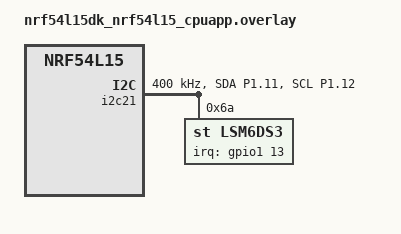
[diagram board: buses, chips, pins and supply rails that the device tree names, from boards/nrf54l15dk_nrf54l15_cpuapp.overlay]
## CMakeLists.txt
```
# SPDX-License-Identifier: Apache-2.0

cmake_minimum_required(VERSION 3.20.0)

list(APPEND ZEPHYR_EXTRA_MODULES ${CMAKE_CURRENT_SOURCE_DIR}/drivers)
list(APPEND DTS_ROOT ${CMAKE_CURRENT_SOURCE_DIR})

find_package(Zephyr REQUIRED HINTS $ENV{ZEPHYR_BASE})
project(gesture_recognition)

file(GLOB app_sources src/*)
target_sources(app PRIVATE ${app_sources})
```

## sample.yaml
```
sample:
  name: Gesture recognition using LSM6DSL 
tests:
  sample.sensor.lsm6dsl:
    harness: console
    tags: sensors
    depends_on: lsm6dsl
    timeout: 15
    modules:
      - tflite-micro
    harness_config:
      type: multi_line
      ordered: true
      regex:
        - "accel x:[-.0-9]* ms/2 y:[-.0-9]* ms/2 z:[-.0-9]* ms/2"
        - "gyro x:[-.0-9]* dps y:[-.0-9]* dps z:[-.0-9]* dps"
        - "loop:[0-9]* trig_cnt:[0-9]*"
```

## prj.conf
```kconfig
# ==========================================
# 1. HARDWARE, SENSORS, & GPIO
# ==========================================
CONFIG_I2C=y
CONFIG_SENSOR=y
CONFIG_LSM6DS3=y
CONFIG_LSM6DS3_TRIGGER_GLOBAL_THREAD=y
CONFIG_GPIO=y

# ==========================================
# 2. C++ AND TINYML (TENSORFLOW)
# ==========================================
CONFIG_CPP=y
CONFIG_STD_CPP17=y
CONFIG_TENSORFLOW_LITE_MICRO=y
CONFIG_FPU=y
CONFIG_CMSIS_DSP=y
CONFIG_CMSIS_NN=y
CONFIG_CBPRINTF_FP_SUPPORT=y

# ==========================================
# 3. BLUETOOTH CORE
# ==========================================
CONFIG_BT=y
CONFIG_BT_PERIPHERAL=y
CONFIG_BT_DEVICE_NAME="EdgeAI Gesture Translation System"
CONFIG_BT_DEVICE_APPEARANCE=961
CONFIG_BT_MAX_CONN=1
CONFIG_BT_MAX_PAIRED=5
CONFIG_BT_CONN_CTX=y

# ==========================================
# 4. BLUETOOTH HID & SERVICES
# ==========================================
CONFIG_BT_HIDS=y
CONFIG_BT_HIDS_MAX_CLIENT_COUNT=1
CONFIG_BT_HIDS_DEFAULT_PERM_RW_ENCRYPT=y
CONFIG_BT_HIDS_INPUT_REP_MAX=1

CONFIG_BT_BAS=y
CONFIG_BT_DIS=y
CONFIG_BT_DIS_PNP=y
CONFIG_BT_DIS_PNP_VID_SRC=2
CONFIG_BT_DIS_PNP_VID=0x1915
CONFIG_BT_DIS_PNP_PID=0x0001
CONFIG_BT_DIS_PNP_VER=0x0100

# ==========================================
# 5. BLUETOOTH SECURITY & BONDING (iOS/OSX COMPATIBILITY)
# ==========================================
CONFIG_BT_SMP=y
CONFIG_BT_BONDABLE=y
CONFIG_BT_BONDING_REQUIRED=n
CONFIG_BT_SMP_SC_ONLY=n
CONFIG_BT_SMP_SC_PAIR_ONLY=n
CONFIG_BT_SMP_ALLOW_UNAUTH_OVERWRITE=y
CONFIG_BT_GATT_AUTO_SEC_REQ=n
CONFIG_BT_AUTO_PHY_UPDATE=n

# ==========================================
# 6. FLASH & SETTINGS (FOR SAVING BLUETOOTH PAIRINGS)
# ==========================================
CONFIG_BT_SETTINGS=y
CONFIG_FLASH=y
CONFIG_FLASH_PAGE_LAYOUT=y
CONFIG_FLASH_MAP=y
CONFIG_NVS=y
CONFIG_SETTINGS=y
CONFIG_SETTINGS_NVS=y

# ==========================================
# 7. BLUETOOTH MEMORY POOLS
# ==========================================
CONFIG_BT_GATT_UUID16_POOL_SIZE=40
CONFIG_BT_GATT_CHRC_POOL_SIZE=20
CONFIG_BT_ATT_TX_COUNT=5

# ==========================================
# 8. SYSTEM STACKS & HEAP
# ==========================================
CONFIG_MAIN_STACK_SIZE=8192
CONFIG_SYSTEM_WORKQUEUE_STACK_SIZE=4096
CONFIG_HEAP_MEM_POOL_SIZE=8192

# ==========================================
# 9. LOGGING & DEBUG
# ==========================================
CONFIG_LOG=y
# Uncomment below if you need deep Bluetooth debugging
# CONFIG_LOG_BACKEND_UART=y
# CONFIG_BT_LOG_LEVEL_WRN=y
```

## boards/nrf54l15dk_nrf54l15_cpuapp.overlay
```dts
/*
 * Device tree overlay for LSM6DS3 breakout on nRF54L15 DK
 *
 * Wiring:
 *   Breakout SDA  -> P1.11  (PORT 1, pin 11)
 *   Breakout SCL  -> P1.12  (PORT 1, pin 12)
 *   Breakout CS   -> VDD.IO (force I2C mode)
 *   Breakout SAO  -> GND    (I2C address 0x6A)
 *   Breakout VIN  -> VDD.IO
 *   Breakout GND  -> GND
 *   Breakout INT1 -> P1.13
 */

&pinctrl {
	i2c21_default: i2c21_default {
		group1 {
			psels = <NRF_PSEL(TWIM_SDA, 1, 11)>,
				<NRF_PSEL(TWIM_SCL, 1, 12)>;
			bias-pull-up;
		};
	};

	i2c21_sleep: i2c21_sleep {
		group1 {
			psels = <NRF_PSEL(TWIM_SDA, 1, 11)>,
				<NRF_PSEL(TWIM_SCL, 1, 12)>;
			low-power-enable;
		};
	};
};

&i2c21 {
	status = "okay";
	clock-frequency = <I2C_BITRATE_FAST>;
	pinctrl-0 = <&i2c21_default>;
	pinctrl-1 = <&i2c21_sleep>;
	pinctrl-names = "default", "sleep";

	lsm6ds3: lsm6ds3@6a {
		compatible = "st,lsm6ds3";
		reg = <0x6a>;
		irq-gpios = <&gpio1 13 GPIO_ACTIVE_HIGH>;
	};
};
```

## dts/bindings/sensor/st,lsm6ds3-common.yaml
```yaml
# SPDX-License-Identifier: Apache-2.0

include: sensor-device.yaml

properties:
  irq-gpios:
    type: phandle-array
```

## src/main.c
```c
/**
 * main.c
 * Gesture recognition with windowing and inference
 */

#include <zephyr/kernel.h>
#include <zephyr/logging/log.h>

#include "imu.h"
#include "gesture_inference.h"

LOG_MODULE_REGISTER(main, LOG_LEVEL_INF);

extern struct k_msgq imu_msgq;

// Window configuration (must match training)
#define WINDOW_SIZE 128
#define NUM_FEATURES 6
#define STRIDE 64  // Slide window by 64 samples (50% overlap)

// Sliding window buffer
static float window_buffer[WINDOW_SIZE][NUM_FEATURES];
static int window_index = 0;
static bool window_ready = false;

// Statistics for normalization (calculate from your training data)
// These should match the normalization used during training
#define ACCEL_MEAN_X 0.0f
#define ACCEL_MEAN_Y 0.0f
#define ACCEL_MEAN_Z 1000.0f  // ~1g in mg
#define GYRO_MEAN_X 0.0f
#define GYRO_MEAN_Y 0.0f
#define GYRO_MEAN_Z 0.0f

#define ACCEL_STD_X 500.0f
#define ACCEL_STD_Y 500.0f
#define ACCEL_STD_Z 500.0f
#define GYRO_STD_X 100.0f
#define GYRO_STD_Y 100.0f
#define GYRO_STD_Z 100.0f

/**
 * Normalize sensor data
 */
static inline float normalize(float value, float mean, float std)
{
    return (value - mean) / std;
}

/**
 * Add IMU sample to window buffer
 */
static void add_to_window(struct imu_sample *sample)
{
    // Normalize and add to window
    window_buffer[window_index][0] = normalize(sample->accel_x, ACCEL_MEAN_X, ACCEL_STD_X);
    window_buffer[window_index][1] = normalize(sample->accel_y, ACCEL_MEAN_Y, ACCEL_STD_Y);
    window_buffer[window_index][2] = normalize(sample->accel_z, ACCEL_MEAN_Z, ACCEL_STD_Z);
    window_buffer[window_index][3] = normalize(sample->gyro_x, GYRO_MEAN_X, GYRO_STD_X);
    window_buffer[window_index][4] = normalize(sample->gyro_y, GYRO_MEAN_Y, GYRO_STD_Y);
    window_buffer[window_index][5] = normalize(sample->gyro_z, GYRO_MEAN_Z, GYRO_STD_Z);
    
    window_index++;
    
    // Check if window is full
    if (window_index >= WINDOW_SIZE) {
        window_ready = true;
        window_index = 0;  // Reset for next window
    }
}

/**
 * Prepare flattened input for inference
 */
static void prepare_input(float *input_array)
{
    // Flatten window buffer: [128, 6] -> [768]
    for (int i = 0; i < WINDOW_SIZE; i++) {
        for (int j = 0; j < NUM_FEATURES; j++) {
            input_array[i * NUM_FEATURES + j] = window_buffer[i][j];
        }
    }
}

/**
 * Print gesture result
 */
static void print_result(gesture_result_t *result)
{
    LOG_INF("┌─────────────────────────────────────┐");
    LOG_INF("│ GESTURE: %-25s│", gesture_get_name(result->gesture));
    LOG_INF("│ CONFIDENCE: %.1f%%                  │", result->confidence * 100.0f);
    LOG_INF("├─────────────────────────────────────┤");
    LOG_INF("│ Probabilities:                      │");
    LOG_INF("│   SLIDE_UP:    %.1f%%", result->probabilities[0] * 100.0f);
    LOG_INF("│   SLIDE_DOWN:  %.1f%%", result->probabilities[1] * 100.0f);
    LOG_INF("│   SLIDE_LEFT:  %.1f%%", result->probabilities[2] * 100.0f);
    LOG_INF("│   SLIDE_RIGHT: %.1f%%", result->probabilities[3] * 100.0f);
    LOG_INF("└─────────────────────────────────────┘");
}

/**
 * Main thread
 */
int main(void)
{
    LOG_INF("═════════════════════════════════════════");
    LOG_INF("  Gesture Recognition System - nRF54L15");
    LOG_INF("═════════════════════════════════════════");
    
    // Start IMU
    if (imu_start() != 0) {
        LOG_ERR("Failed to start IMU");
        return -1;
    }
    LOG_INF("✓ IMU started");
    
    // Initialize TensorFlow Lite
    if (!gesture_init()) {
        LOG_ERR("Failed to initialize gesture recognition");
        return -1;
    }
    LOG_INF("✓ TFLite initialized");
    
    LOG_INF("\n🎯 Ready for gesture recognition!");
    LOG_INF("   Window size: %d samples", WINDOW_SIZE);
    LOG_INF("   Collecting data...\n");
    
    struct imu_sample sample;
    gesture_result_t result;
    float input_data[WINDOW_SIZE * NUM_FEATURES];
    
    uint32_t sample_count = 0;
    uint32_t inference_count = 0;
    
    while (1) {
        // Get IMU sample from message queue
        k_msgq_get(&imu_msgq, &sample, K_FOREVER);
        sample_count++;
        
        // Add to window
        add_to_window(&sample);
        
        // Log raw data periodically
        if (sample_count % 104 == 0) {
            LOG_DBG("Sample #%u: accel[%d,%d,%d] gyro[%d,%d,%d]",
                   sample_count,
                   sample.accel_x, sample.accel_y, sample.accel_z,
                   sample.gyro_x, sample.gyro_y, sample.gyro_z);
        }
        
        // Run inference when window is ready
        if (window_ready) {
            LOG_INF("─────────────────────────────────────────");
            LOG_INF("Running inference #%u...", ++inference_count);
            
            // Prepare input
            prepare_input(input_data);
            
            // Run inference
            int64_t start_time = k_uptime_get();
            
            if (gesture_predict(input_data, &result)) {
                int64_t inference_time = k_uptime_delta(&start_time);
                
                // Print result
                print_result(&result);
                LOG_INF("⏱️  Inference time: %lld ms", inference_time);
                
                // Optional: Only show high confidence predictions
                if (result.confidence > 0.7f) {
                    LOG_WRN("🎯 HIGH CONFIDENCE DETECTION!");
                }
            } else {
                LOG_ERR("❌ Inference failed");
            }
            
            window_ready = false;
            
            // Optional: Add delay between inferences
            // k_sleep(K_MSEC(100));
        }
    }
    
    return 0;
}
```

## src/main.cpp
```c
#include "main_functions.hpp"

int main(int argc, char *argv[])
{
	setup();
	while (true) {
		loop();
	}
}
```

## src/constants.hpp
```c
#ifndef CONSTANTS_H_
#define CONSTANTS_H_

/** Training data statistics:
Accelerometer: m/s² 
Gyroscope: rad/s 
*/

// Mean values
#define ACCEL_X_MEAN -2.545875f
#define ACCEL_Y_MEAN 6.037923f
#define ACCEL_Z_MEAN 0.781317f
#define GYRO_X_MEAN 0.061443f
#define GYRO_Y_MEAN -0.103846f
#define GYRO_Z_MEAN 0.003154f

// Standard deviation values 
#define ACCEL_X_STD 5.859293f
#define ACCEL_Y_STD 3.801762f
#define ACCEL_Z_STD 4.831740f
#define GYRO_X_STD 0.718018f
#define GYRO_Y_STD 1.324086f
#define GYRO_Z_STD 0.492886f

/* The number of time-steps in one "clip" (the window length) */
constexpr int kWindowSize = 40;

/* The number of sensor features (3 Accel + 3 Gyro) */
constexpr int kFeatureCount = 6;

/* Total length of the flattened input tensor (128 * 6 = 768) */
constexpr int kMaxInputLength = kWindowSize * kFeatureCount;

/* The expected IMU sample frequency in Hz */
const float kTargetHz = 52.0f;

/* Gesture classification settings */
constexpr int kGestureCount = 4;
/* What gestures are supported. */
constexpr int kSlideUp = 0;
constexpr int kSlideDown = 1;
constexpr int kSlideLeft = 2;
constexpr int kSlideRight = 3;

constexpr float kDetectionThreshold = 0.6f;
constexpr int kPredictionHistoryLength = 5;
constexpr int kPredictionSuppressionDuration = 25;



#endif /* CONSTANTS_H_ */
```

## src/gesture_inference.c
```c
/**
 * gesture_inference.c
 * Enhanced implementation with better error handling
 */

#include "gesture_inference.h"
#include "gesture_model.h"

#include "tensorflow/lite/micro/micro_mutable_op_resolver.h"
#include "tensorflow/lite/micro/micro_interpreter.h"
#include "tensorflow/lite/micro/system_setup.h"
#include "tensorflow/lite/schema/schema_generated.h"

#include <zephyr/logging/log.h>
LOG_MODULE_REGISTER(gesture_inference, LOG_LEVEL_INF);

// TFLite globals
static const tflite::Model* model = nullptr;
static tflite::MicroInterpreter* interpreter = nullptr;
static TfLiteTensor* input_tensor = nullptr;
static TfLiteTensor* output_tensor = nullptr;

// Tensor arena - adjust based on your model's needs
constexpr int kTensorArenaSize = 60 * 1024;  // 60 KB
alignas(16) static uint8_t tensor_arena[kTensorArenaSize];

// Gesture names
static const char* gesture_names[] = {
    "SLIDE_UP",
    "SLIDE_DOWN",
    "SLIDE_LEFT",
    "SLIDE_RIGHT",
    "UNKNOWN"
};

// Input shape expected by model
static int input_window_size = 0;
static int input_features = 0;

/**
 * Initialize gesture recognition system
 */
bool gesture_init(void)
{
    LOG_INF("═════════════════════════════════════════");
    LOG_INF("  Initializing TensorFlow Lite Micro");
    LOG_INF("═════════════════════════════════════════");
    
    // Initialize TFLite runtime
    tflite::InitializeTarget();
    
    // Load model from flash
    model = tflite::GetModel(gesture_model);
    if (model->version() != TFLITE_SCHEMA_VERSION) {
        LOG_ERR("❌ Model schema version mismatch!");
        LOG_ERR("   Model version: %d", model->version());
        LOG_ERR("   Expected version: %d", TFLITE_SCHEMA_VERSION);
        return false;
    }
    
    LOG_INF("✓ Model loaded successfully");
    LOG_INF("  Size: %u bytes (%.2f KB)", gesture_model_len, 
           gesture_model_len / 1024.0f);
    
    // Create operation resolver
    static tflite::MicroMutableOpResolver<12> resolver;
    
    // Add operations used by DeepConvGRU model
    resolver.AddConv2D();
    resolver.AddReshape();
    resolver.AddFullyConnected();
    resolver.AddSoftmax();
    resolver.AddQuantize();
    resolver.AddDequantize();
    
    // GRU operations
    resolver.AddUnidirectionalSequenceGRU();
    resolver.AddUnidirectionalSequenceLSTM();  // Sometimes needed
    
    // Additional ops
    resolver.AddMean();
    resolver.AddPad();
    resolver.AddMul();
    resolver.AddAdd();
    
    LOG_INF("✓ Op resolver configured");
    
    // Build interpreter
    static tflite::MicroInterpreter static_interpreter(
        model, resolver, tensor_arena, kTensorArenaSize);
    interpreter = &static_interpreter;
    
    // Allocate tensors
    TfLiteStatus allocate_status = interpreter->AllocateTensors();
    if (allocate_status != kTfLiteOk) {
        LOG_ERR("❌ AllocateTensors() failed!");
        return false;
    }
    
    LOG_INF("✓ Tensors allocated");
    
    // Get input tensor
    input_tensor = interpreter->input(0);
    if (!input_tensor) {
        LOG_ERR("❌ Failed to get input tensor");
        return false;
    }
    
    // Get output tensor
    output_tensor = interpreter->output(0);
    if (!output_tensor) {
        LOG_ERR("❌ Failed to get output tensor");
        return false;
    }
    
    // Log input tensor details
    LOG_INF("─────────────────────────────────────────");
    LOG_INF("Input Tensor:");
    LOG_INF("  Dimensions: %d", input_tensor->dims->size);
    
    if (input_tensor->dims->size == 3) {
        LOG_INF("  Shape: [%d, %d, %d]",
               input_tensor->dims->data[0],  // batch
               input_tensor->dims->data[1],  // window_size
               input_tensor->dims->data[2]); // features
        
        input_window_size = input_tensor->dims->data[1];
        input_features = input_tensor->dims->data[2];
    }
    
    LOG_INF("  Type: %s", 
           input_tensor->type == kTfLiteFloat32 ? "Float32" :
           input_tensor->type == kTfLiteInt8 ? "Int8" : "Unknown");
    LOG_INF("  Bytes: %d", input_tensor->bytes);
    
    // Log output tensor details
    LOG_INF("─────────────────────────────────────────");
    LOG_INF("Output Tensor:");
    LOG_INF("  Dimensions: %d", output_tensor->dims->size);
    LOG_INF("  Classes: %d", output_tensor->dims->data[1]);
    LOG_INF("  Type: %s",
           output_tensor->type == kTfLiteFloat32 ? "Float32" :
           output_tensor->type == kTfLiteInt8 ? "Int8" : "Unknown");
    
    // Log memory usage
    LOG_INF("─────────────────────────────────────────");
    LOG_INF("Memory Usage:");
    LOG_INF("  Tensor arena size: %d bytes (%.2f KB)",
           kTensorArenaSize, kTensorArenaSize / 1024.0f);
    LOG_INF("  Arena used: %d bytes (%.2f KB)",
           interpreter->arena_used_bytes(),
           interpreter->arena_used_bytes() / 1024.0f);
    LOG_INF("  Arena available: %d bytes (%.2f KB)",
           kTensorArenaSize - interpreter->arena_used_bytes(),
           (kTensorArenaSize - interpreter->arena_used_bytes()) / 1024.0f);
    
    LOG_INF("═════════════════════════════════════════");
    LOG_INF("✓ TensorFlow Lite Micro initialized!");
    LOG_INF("═════════════════════════════════════════");
    
    return true;
}

/**
 * Run inference on windowed IMU data
 */
bool gesture_predict(const float *input_data, gesture_result_t *result)
{
    if (!interpreter || !input_tensor || !output_tensor) {
        LOG_ERR("❌ Interpreter not initialized!");
        return false;
    }
    
    // Calculate input size
    int input_size = input_window_size * input_features;
    
    // Copy input data to tensor
    if (input_tensor->type == kTfLiteFloat32) {
        // Float32 input
        memcpy(input_tensor->data.f, input_data, input_size * sizeof(float));
    } else if (input_tensor->type == kTfLiteInt8) {
        // Int8 quantized input
        float scale = input_tensor->params.scale;
        int32_t zero_point = input_tensor->params.zero_point;
        
        for (int i = 0; i < input_size; i++) {
            int32_t quantized = (int32_t)(input_data[i] / scale + zero_point);
            quantized = MAX(-128, MIN(127, quantized));
            input_tensor->data.int8[i] = (int8_t)quantized;
        }
    }
    
    // Run inference
    TfLiteStatus invoke_status = interpreter->Invoke();
    if (invoke_status != kTfLiteOk) {
        LOG_ERR("❌ Invoke() failed!");
        return false;
    }
    
    // Process output
    float max_prob = 0.0f;
    int max_index = 0;
    
    for (int i = 0; i < 4; i++) {
        if (output_tensor->type == kTfLiteFloat32) {
            result->probabilities[i] = output_tensor->data.f[i];
        } else if (output_tensor->type == kTfLiteInt8) {
            // Dequantize output
            float scale = output_tensor->params.scale;
            int32_t zero_point = output_tensor->params.zero_point;
            result->probabilities[i] = 
                (output_tensor->data.int8[i] - zero_point) * scale;
        }
        
        if (result->probabilities[i] > max_prob) {
            max_prob = result->probabilities[i];
            max_index = i;
        }
    }
    
    // Set result
    result->gesture = (gesture_type_t)max_index;
    result->confidence = max_prob;
    
    return true;
}

/**
 * Get gesture name string
 */
const char* gesture_get_name(gesture_type_t gesture)
{
    if (gesture >= 0 && gesture <= 4) {
        return gesture_names[gesture];
    }
    return "INVALID";
}
```

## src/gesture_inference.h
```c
/**
 * gesture_inference.h
 * TensorFlow Lite Micro inference for nRF54L15
 */

#ifndef GESTURE_INFERENCE_H
#define GESTURE_INFERENCE_H

#include <stdint.h>
#include <stdbool.h>

// Gesture classes
typedef enum {
    GESTURE_SLIDE_UP = 0,
    GESTURE_SLIDE_DOWN = 1,
    GESTURE_SLIDE_LEFT = 2,
    GESTURE_SLIDE_RIGHT = 3,
    GESTURE_UNKNOWN = 4
} gesture_type_t;

// Gesture result
typedef struct {
    gesture_type_t gesture;
    float confidence;
    float probabilities[4];
} gesture_result_t;

// Initialize TFLite interpreter
bool gesture_init(void);

// Run inference on IMU data
// input_data: float array of shape [window_size, 6] - flattened
// window_size: typically 128
bool gesture_predict(const float *input_data, gesture_result_t *result);

// Get gesture name
const char* gesture_get_name(gesture_type_t gesture);

#endif
```

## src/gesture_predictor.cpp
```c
#include "gesture_predictor.hpp"

#include "constants.hpp"

namespace {
	/* State for the averaging algorithm we're using. */
	float prediction_history[kGestureCount][kPredictionHistoryLength] = {};
	int prediction_history_index = 0;
	int prediction_suppression_count = 0;
} /* namespace */

/* Return the result of the last prediction
 * 0: wing("W"), 1: ring("O"), 2: slope("angle"), 3: unknown
 */
int PredictGesture(float *output)
{
	/* Record the latest predictions in our rolling history buffer. */
	for (int i = 0; i < kGestureCount; ++i) {
		prediction_history[i][prediction_history_index] = output[i];
	}
	/* Figure out which slot to put the next predictions into. */
	++prediction_history_index;
	if (prediction_history_index >= kPredictionHistoryLength) {
		prediction_history_index = 0;
	}

	/* Average the last n predictions for each gesture, and find which has the
	 * highest score.
	 */
	int max_predict_index = -1;
	float max_predict_score = 0.0f;
	for (int i = 0; i < kGestureCount; i++) {
		float prediction_sum = 0.0f;
		for (int j = 0; j < kPredictionHistoryLength; ++j) {
			prediction_sum += prediction_history[i][j];
		}
		const float prediction_average = prediction_sum / kPredictionHistoryLength;
		if ((max_predict_index == -1) || (prediction_average > max_predict_score)) {
			max_predict_index = i;
			max_predict_score = prediction_average;
		}
	}
	
	/* If there's been a recent prediction, don't trigger a new one too soon. */
	if (prediction_suppression_count > 0) {
		--prediction_suppression_count;
	}
	/* If we're predicting no gesture, or the average score is too low, or there's
	 * been a gesture recognised too recently, return no gesture.
	 */
	if ((max_predict_index == kGestureCount) ||
	    (max_predict_score < kDetectionThreshold) ||
	    (prediction_suppression_count > 0)) {
		return kGestureCount;
	} else {
		/* Reset the suppression counter so we don't come up with another prediction
		 * too soon.
		 */
		prediction_suppression_count = kPredictionSuppressionDuration;
		return max_predict_index;
	}
}
```

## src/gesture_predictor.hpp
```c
#ifndef TENSORFLOW_LITE_MICRO_EXAMPLES_MAGIC_WAND_GESTURE_PREDICTOR_H_
#define TENSORFLOW_LITE_MICRO_EXAMPLES_MAGIC_WAND_GESTURE_PREDICTOR_H_

extern int PredictGesture(float *output);

#endif /* GESTURE_PREDICTOR_H_ */
```

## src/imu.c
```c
#include <zephyr/kernel.h>
#include <zephyr/device.h>
#include <zephyr/drivers/sensor.h>
#include <zephyr/logging/log.h>

#include "imu.h"

LOG_MODULE_REGISTER(imu, LOG_LEVEL_INF);

#define IMU_MSGQ_DEPTH 50

static const struct device *imu_dev;

K_MSGQ_DEFINE(imu_msgq, sizeof(struct imu_sample), IMU_MSGQ_DEPTH, 4);

static struct k_work imu_work;

static int16_t sv_to_mg(const struct sensor_value *sv)
{
	/* sensor_value is m/s^2; convert to mg: 1g = 9.80665 m/s^2 */
	int32_t mg = (sv->val1 * 1000 + sv->val2 / 1000) * 1000 / 9807;

	return (int16_t)CLAMP(mg, INT16_MIN, INT16_MAX);
}

static int16_t sv_to_mdps(const struct sensor_value *sv)
{
	/* sensor_value is rad/s (val1 integer, val2 millionths).
	 * 1 rad/s = 57295.78 mdps. Use int64 to avoid overflow on val2 multiply.
	 */
	int64_t mdps = (int64_t)sv->val1 * 57296 +
		       ((int64_t)sv->val2 * 57296) / 1000000;

	return (int16_t)CLAMP(mdps, INT16_MIN, INT16_MAX);
}

static void imu_work_handler(struct k_work *work)
{
	static uint32_t sample_count;
	static int64_t last_log_ms;

	int64_t now = k_uptime_get();

	sample_count++;
	if (now - last_log_ms >= 1000) {
		LOG_INF("sample rate: %u Hz", sample_count);
		sample_count = 0;
		last_log_ms = now;
	}

	struct sensor_value ax, ay, az, gx, gy, gz;

	sensor_sample_fetch_chan(imu_dev, SENSOR_CHAN_ACCEL_XYZ);
	sensor_channel_get(imu_dev, SENSOR_CHAN_ACCEL_X, &ax);
	sensor_channel_get(imu_dev, SENSOR_CHAN_ACCEL_Y, &ay);
	sensor_channel_get(imu_dev, SENSOR_CHAN_ACCEL_Z, &az);

	sensor_sample_fetch_chan(imu_dev, SENSOR_CHAN_GYRO_XYZ);
	sensor_channel_get(imu_dev, SENSOR_CHAN_GYRO_X, &gx);
	sensor_channel_get(imu_dev, SENSOR_CHAN_GYRO_Y, &gy);
	sensor_channel_get(imu_dev, SENSOR_CHAN_GYRO_Z, &gz);

	struct imu_sample s = {
		.accel_x = sv_to_mg(&ax),
		.accel_y = sv_to_mg(&ay),
		.accel_z = sv_to_mg(&az),
		.gyro_x  = sv_to_mdps(&gx),
		.gyro_y  = sv_to_mdps(&gy),
		.gyro_z  = sv_to_mdps(&gz),
	};

	if (k_msgq_put(&imu_msgq, &s, K_NO_WAIT) != 0) {
		LOG_WRN("imu_msgq full, sample dropped");
	}
}

static void imu_trigger_handler(const struct device *dev,
				const struct sensor_trigger *trig)
{
	k_work_submit(&imu_work);
}

int imu_start(void)
{
	imu_dev = DEVICE_DT_GET_ONE(st_lsm6ds3);

	if (!device_is_ready(imu_dev)) {
		LOG_ERR("IMU device not ready");
		return -ENODEV;
	}

	struct sensor_value odr = { .val1 = 104, .val2 = 0 };

	if (sensor_attr_set(imu_dev, SENSOR_CHAN_ACCEL_XYZ,
			    SENSOR_ATTR_SAMPLING_FREQUENCY, &odr) < 0) {
		LOG_ERR("Cannot set accel ODR");
		return -EIO;
	}

	if (sensor_attr_set(imu_dev, SENSOR_CHAN_GYRO_XYZ,
			    SENSOR_ATTR_SAMPLING_FREQUENCY, &odr) < 0) {
		LOG_ERR("Cannot set gyro ODR");
		return -EIO;
	}

	k_work_init(&imu_work, imu_work_handler);

	struct sensor_trigger trig = {
		.type = SENSOR_TRIG_DATA_READY,
		.chan = SENSOR_CHAN_ACCEL_XYZ,
	};

	if (sensor_trigger_set(imu_dev, &trig, imu_trigger_handler) != 0) {
		LOG_ERR("Cannot set sensor trigger");
		return -EIO;
	}

	LOG_INF("IMU started at 104 Hz");
	return 0;
}
```

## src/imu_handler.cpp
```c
#include "imu_handler.hpp"
#include "constants.hpp"
#include <zephyr/kernel.h>
#include <zephyr/device.h>
#include <zephyr/drivers/sensor.h>
#include <math.h>
#include <zephyr/logging/log.h>
#include <stdio.h>
#include <string.h>


LOG_MODULE_REGISTER(imu_handler, LOG_LEVEL_ERR);

#define GRAVITY_MS2 9.80665f          // Standard gravity (m/s²)
#define DEG_TO_RAD (M_PI / 180.0f)    // Degrees to radians
#define MILLI_TO_UNIT 1000.0f         // Milli prefix conversion
#define BUFLEN 300

int begin_index = 0;
const struct device *const sensor = DEVICE_DT_GET_ONE(st_lsm6ds3);
int current_index = 0;

float buf_accel_x[BUFLEN] = { 0.0f };
float buf_accel_y[BUFLEN] = { 0.0f };
float buf_accel_z[BUFLEN] = { 0.0f };
float buf_gyro_x[BUFLEN] = { 0.0f };
float buf_gyro_y[BUFLEN] = { 0.0f };
float buf_gyro_z[BUFLEN] = { 0.0f };

bool initial = true;

/*Normalize a value using Z-score normalization*/
static inline float normalize_value(float value, float mean, float std) {
    // return (value - mean) / std;
	return value;
}

TfLiteStatus SetupIMU()
{
	struct sensor_value odr;
	odr.val1 = (int32_t)kTargetHz; 
	odr.val2 = 0;

	if (!device_is_ready(sensor)) {
		LOG_ERR("%s: device not ready.\n", sensor->name);
		return kTfLiteApplicationError;
	}

	MicroPrintf("IMU detected, name: %s\n", sensor->name);

	// Set Accelerometer to pulse at TargetHz
	if (sensor_attr_set(sensor, SENSOR_CHAN_ACCEL_XYZ,
						SENSOR_ATTR_SAMPLING_FREQUENCY, &odr) < 0) {
		LOG_ERR("Cannot set accelerometer ODR");
		return kTfLiteApplicationError;
	}

	// Set Gyroscope to pulse at TargetHz
	if (sensor_attr_set(sensor, SENSOR_CHAN_GYRO_XYZ, 
						SENSOR_ATTR_SAMPLING_FREQUENCY, &odr) < 0) {
		LOG_ERR("Cannot set gyroscope ODR");
		return kTfLiteApplicationError;
	}	

	return kTfLiteOk;
}

bool ReadIMU(float *input, int length)
{
	struct sensor_value accel[3];
	struct sensor_value gyro[3];

	if (sensor_sample_fetch(sensor) < 0) {
		MicroPrintf("Fetch failed\n");
		return false;
	}

	// Extract data from the driver
    sensor_channel_get(sensor, SENSOR_CHAN_ACCEL_XYZ, accel);
    sensor_channel_get(sensor, SENSOR_CHAN_GYRO_XYZ, gyro);

	float accel_x = (float)sensor_value_to_double(&accel[0]);  // m/s²
	float accel_y = (float)sensor_value_to_double(&accel[1]);  // m/s²
	float accel_z = (float)sensor_value_to_double(&accel[2]);  // m/s²

	float gyro_x = (float)sensor_value_to_double(&gyro[0]);    // rad/s
	float gyro_y = (float)sensor_value_to_double(&gyro[1]);    // rad/s
	float gyro_z = (float)sensor_value_to_double(&gyro[2]);    // rad/s

	buf_accel_x[begin_index] = normalize_value(accel_x, ACCEL_X_MEAN, ACCEL_X_STD);
	buf_accel_y[begin_index] = normalize_value(accel_y, ACCEL_Y_MEAN, ACCEL_Y_STD);
	buf_accel_z[begin_index] = normalize_value(accel_z, ACCEL_Z_MEAN, ACCEL_Z_STD);

	buf_gyro_x[begin_index] = normalize_value(gyro_x, GYRO_X_MEAN, GYRO_X_STD);
	buf_gyro_y[begin_index] = normalize_value(gyro_y, GYRO_Y_MEAN, GYRO_Y_STD);
	buf_gyro_z[begin_index] = normalize_value(gyro_z, GYRO_Z_MEAN, GYRO_Z_STD);

	begin_index = (begin_index + 1) % BUFLEN;

    if (initial && begin_index >= kWindowSize) initial = false;
    if (initial) return false;

	for (int i = 0; i < kWindowSize; i++) {
			// Calculate the circular index
		int ring_index = (begin_index + i - kWindowSize + BUFLEN) % BUFLEN;
		
		int offset = i * kFeatureCount;
		input[offset + 0] = buf_accel_x[ring_index];
		input[offset + 1] = buf_accel_y[ring_index];
		input[offset + 2] = buf_accel_z[ring_index];
		input[offset + 3] = buf_gyro_x[ring_index];
		input[offset + 4] = buf_gyro_y[ring_index];
		input[offset + 5] = buf_gyro_z[ring_index];
		}
	return true;
}
```

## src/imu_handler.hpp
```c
#ifndef IMU_HANDLER_H_
#define IMU_HANDLER_H_

#include <tensorflow/lite/c/c_api_types.h>
#include <tensorflow/lite/micro/micro_log.h>

extern int begin_index;
extern TfLiteStatus SetupIMU();
extern bool ReadIMU(float *input, int length);

#endif /* IMU_HANDLER_H_ */
```

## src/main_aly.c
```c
#include <zephyr/kernel.h>
#include <zephyr/logging/log.h>

#include "imu.h"

LOG_MODULE_REGISTER(main, LOG_LEVEL_INF);

extern struct k_msgq imu_msgq;

int main(void)
{
	if (imu_start() != 0) {
		LOG_ERR("Failed to start IMU");
		return 0;
	}

	struct imu_sample s;
	uint32_t count = 0;

	while (1) {
		k_msgq_get(&imu_msgq, &s, K_FOREVER);
		count++;

		if (count % 104 == 0) {
			LOG_INF("accel x:%d mg y:%d mg z:%d mg | "
				"gyro x:%d mdps y:%d mdps z:%d mdps",
				s.accel_x, s.accel_y, s.accel_z,
				s.gyro_x, s.gyro_y, s.gyro_z);
		}
	}
}
```
